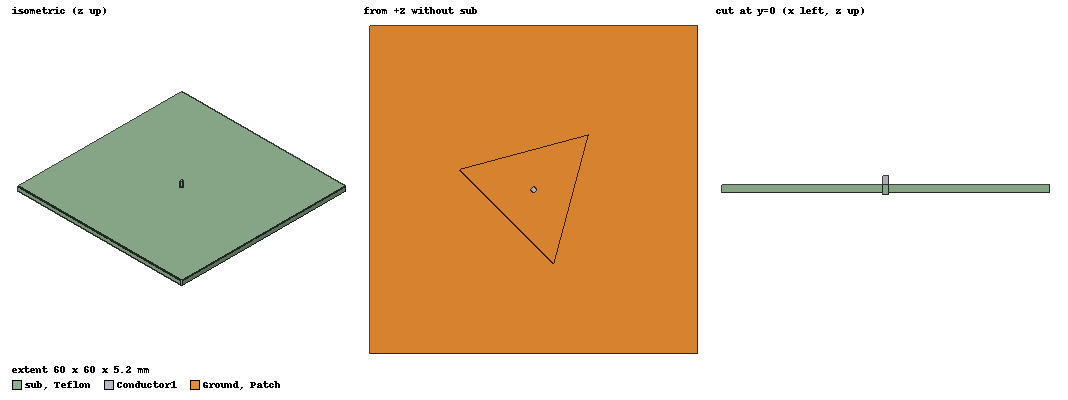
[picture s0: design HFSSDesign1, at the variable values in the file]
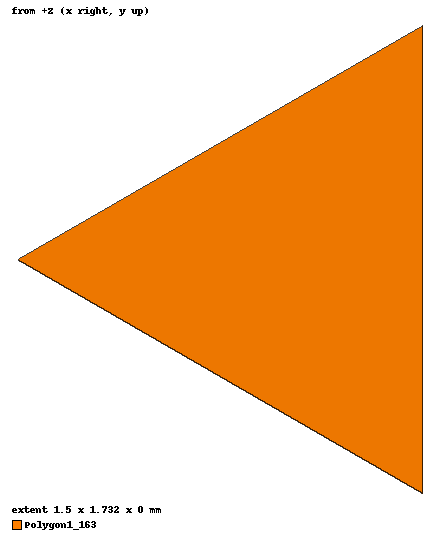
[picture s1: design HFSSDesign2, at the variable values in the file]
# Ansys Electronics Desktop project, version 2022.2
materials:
  vacuum: permittivity=1
  Rogers RT/duroid 5880 (tm): permittivity=1.96 dielectric_loss_tangent=0.0009
  Teflon (tm): permittivity=2.1 dielectric_loss_tangent=0.001
  pec: conductivity=1e+30
  copper: permeability=0.999991 conductivity=58000000

design HFSSDesign1 (HFSS, DrivenTerminal, model units mm)
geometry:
  sub [Rogers RT/duroid 5880 (tm)] = box(corner=(-30mm, -30mm, 0mm), size=(60mm, 60mm, 1.6mm))
  Ground = rectangle(corner=(30mm, 30mm, 0mm), x_size=-60mm, y_size=-60mm)
  Patch = regular_polygon(axis=Z, centre=(0mm, 0mm, 0mm), first_corner=(10mm, 10mm, 0mm), sides=3)
  Conductor [pec] = cylinder(axis=Z, base_centre=(0mm, 0mm, 1.6mm), radius=0.5mm, height=-2mm)
  Teflon [Teflon (tm)] = cylinder(axis=Z, base_centre=(0mm, 0mm, 1.6mm), radius=0.5mm, height=-2mm)
  Conductor1 [pec] = cylinder(axis=Z, base_centre=(0mm, 0mm, 1.6mm), radius=0.5mm, height=1.6mm)
  Circle1 = circle(normal=Z, centre=(0mm, 0mm, -2mm), radius=2.2mm)
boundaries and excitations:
  PerfE1: Perfect E Objects=Ground
  PerfE2: Perfect E Objects=Patch
  1: Wave Port Faces=Circle1.face NumModes=1
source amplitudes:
  1:1: 1 0

design HFSSDesign2 (HFSS, DrivenTerminal, model units mm)
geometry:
  Polygon1 [copper] = regular_polygon(axis=Z, centre=(0mm, 0mm, 0mm), first_corner=(-1mm, 0mm, 0mm), sides=3)
  Polygon1_1 = regular_polygon(axis=Z, centre=(-0.9375mm, 0mm, 0mm), first_corner=(-0.9063mm, 0mm, 0mm), sides=3)
  Polygon1_2 = regular_polygon(axis=Z, centre=(-0.8438mm, -0.0541mm, 0mm), first_corner=(-0.8125mm, -0.0541mm, 0mm), sides=3)
  Polygon1_3 = regular_polygon(axis=Z, centre=(-0.8438mm, 0.0541mm, 0mm), first_corner=(-0.8125mm, 0.0541mm, 0mm), sides=3)
  Polygon1_4 = regular_polygon(axis=Z, centre=(-0.875mm, 0mm, 0mm), first_corner=(-0.8125mm, 0mm, 0mm), sides=3)
  Polygon1_5 = regular_polygon(axis=Z, centre=(-0.75mm, -0.1083mm, 0mm), first_corner=(-0.7188mm, -0.1083mm, 0mm), sides=3)
  Polygon1_6 = regular_polygon(axis=Z, centre=(-0.6563mm, -0.1624mm, 0mm), first_corner=(-0.625mm, -0.1624mm, 0mm), sides=3)
  Polygon1_7 = regular_polygon(axis=Z, centre=(-0.6563mm, -0.0541mm, 0mm), first_corner=(-0.625mm, -0.0541mm, 0mm), sides=3)
  Polygon1_8 = regular_polygon(axis=Z, centre=(-0.6875mm, -0.1083mm, 0mm), first_corner=(-0.625mm, -0.1083mm, 0mm), sides=3)
  Polygon1_9 = regular_polygon(axis=Z, centre=(-0.75mm, 0.1083mm, 0mm), first_corner=(-0.7188mm, 0.1083mm, 0mm), sides=3)
  Polygon1_10 = regular_polygon(axis=Z, centre=(-0.6563mm, 0.0541mm, 0mm), first_corner=(-0.625mm, 0.0541mm, 0mm), sides=3)
  Polygon1_11 = regular_polygon(axis=Z, centre=(-0.6563mm, 0.1624mm, 0mm), first_corner=(-0.625mm, 0.1624mm, 0mm), sides=3)
  Polygon1_12 = regular_polygon(axis=Z, centre=(-0.6875mm, 0.1083mm, 0mm), first_corner=(-0.625mm, 0.1083mm, 0mm), sides=3)
  Polygon1_13 = regular_polygon(axis=Z, centre=(-0.75mm, 0mm, 0mm), first_corner=(-0.625mm, 0mm, 0mm), sides=3)
  Polygon1_14 = regular_polygon(axis=Z, centre=(-0.5625mm, -0.2165mm, 0mm), first_corner=(-0.5313mm, -0.2165mm, 0mm), sides=3)
  Polygon1_15 = regular_polygon(axis=Z, centre=(-0.4688mm, -0.2706mm, 0mm), first_corner=(-0.4375mm, -0.2706mm, 0mm), sides=3)
  Polygon1_16 = regular_polygon(axis=Z, centre=(-0.4688mm, -0.1624mm, 0mm), first_corner=(-0.4375mm, -0.1624mm, 0mm), sides=3)
  Polygon1_17 = regular_polygon(axis=Z, centre=(-0.5mm, -0.2165mm, 0mm), first_corner=(-0.4375mm, -0.2165mm, 0mm), sides=3)
  Polygon1_18 = regular_polygon(axis=Z, centre=(-0.375mm, -0.3248mm, 0mm), first_corner=(-0.3438mm, -0.3248mm, 0mm), sides=3)
  Polygon1_19 = regular_polygon(axis=Z, centre=(-0.2813mm, -0.3789mm, 0mm), first_corner=(-0.25mm, -0.3789mm, 0mm), sides=3)
  Polygon1_20 = regular_polygon(axis=Z, centre=(-0.2813mm, -0.2706mm, 0mm), first_corner=(-0.25mm, -0.2706mm, 0mm), sides=3)
  Polygon1_21 = regular_polygon(axis=Z, centre=(-0.3125mm, -0.3248mm, 0mm), first_corner=(-0.25mm, -0.3248mm, 0mm), sides=3)
  Polygon1_22 = regular_polygon(axis=Z, centre=(-0.375mm, -0.1083mm, 0mm), first_corner=(-0.3438mm, -0.1083mm, 0mm), sides=3)
  Polygon1_23 = regular_polygon(axis=Z, centre=(-0.2813mm, -0.1624mm, 0mm), first_corner=(-0.25mm, -0.1624mm, 0mm), sides=3)
  Polygon1_24 = regular_polygon(axis=Z, centre=(-0.2813mm, -0.0541mm, 0mm), first_corner=(-0.25mm, -0.0541mm, 0mm), sides=3)
  Polygon1_25 = regular_polygon(axis=Z, centre=(-0.3125mm, -0.1083mm, 0mm), first_corner=(-0.25mm, -0.1083mm, 0mm), sides=3)
  Polygon1_26 = regular_polygon(axis=Z, centre=(-0.375mm, -0.2165mm, 0mm), first_corner=(-0.25mm, -0.2165mm, 0mm), sides=3)
  Polygon1_27 = regular_polygon(axis=Z, centre=(-0.5625mm, 0.2165mm, 0mm), first_corner=(-0.5313mm, 0.2165mm, 0mm), sides=3)
  Polygon1_28 = regular_polygon(axis=Z, centre=(-0.4688mm, 0.1624mm, 0mm), first_corner=(-0.4375mm, 0.1624mm, 0mm), sides=3)
  Polygon1_29 = regular_polygon(axis=Z, centre=(-0.4688mm, 0.2706mm, 0mm), first_corner=(-0.4375mm, 0.2706mm, 0mm), sides=3)
  Polygon1_30 = regular_polygon(axis=Z, centre=(-0.5mm, 0.2165mm, 0mm), first_corner=(-0.4375mm, 0.2165mm, 0mm), sides=3)
  Polygon1_31 = regular_polygon(axis=Z, centre=(-0.375mm, 0.1083mm, 0mm), first_corner=(-0.3438mm, 0.1083mm, 0mm), sides=3)
  Polygon1_32 = regular_polygon(axis=Z, centre=(-0.2813mm, 0.0541mm, 0mm), first_corner=(-0.25mm, 0.0541mm, 0mm), sides=3)
  Polygon1_33 = regular_polygon(axis=Z, centre=(-0.2813mm, 0.1624mm, 0mm), first_corner=(-0.25mm, 0.1624mm, 0mm), sides=3)
  Polygon1_34 = regular_polygon(axis=Z, centre=(-0.3125mm, 0.1083mm, 0mm), first_corner=(-0.25mm, 0.1083mm, 0mm), sides=3)
  Polygon1_35 = regular_polygon(axis=Z, centre=(-0.375mm, 0.3248mm, 0mm), first_corner=(-0.3438mm, 0.3248mm, 0mm), sides=3)
  Polygon1_36 = regular_polygon(axis=Z, centre=(-0.2813mm, 0.2706mm, 0mm), first_corner=(-0.25mm, 0.2706mm, 0mm), sides=3)
  Polygon1_37 = regular_polygon(axis=Z, centre=(-0.2813mm, 0.3789mm, 0mm), first_corner=(-0.25mm, 0.3789mm, 0mm), sides=3)
  Polygon1_38 = regular_polygon(axis=Z, centre=(-0.3125mm, 0.3248mm, 0mm), first_corner=(-0.25mm, 0.3248mm, 0mm), sides=3)
  Polygon1_39 = regular_polygon(axis=Z, centre=(-0.375mm, 0.2165mm, 0mm), first_corner=(-0.25mm, 0.2165mm, 0mm), sides=3)
  Polygon1_40 = regular_polygon(axis=Z, centre=(-0.5mm, 0mm, 0mm), first_corner=(-0.25mm, 0mm, 0mm), sides=3)
  Polygon1_41 = regular_polygon(axis=Z, centre=(-0.1875mm, -0.433mm, 0mm), first_corner=(-0.1563mm, -0.433mm, 0mm), sides=3)
  Polygon1_42 = regular_polygon(axis=Z, centre=(-0.0938mm, -0.4871mm, 0mm), first_corner=(-0.0625mm, -0.4871mm, 0mm), sides=3)
  Polygon1_43 = regular_polygon(axis=Z, centre=(-0.0938mm, -0.3789mm, 0mm), first_corner=(-0.0625mm, -0.3789mm, 0mm), sides=3)
  Polygon1_44 = regular_polygon(axis=Z, centre=(-0.125mm, -0.433mm, 0mm), first_corner=(-0.0625mm, -0.433mm, 0mm), sides=3)
  Polygon1_45 = regular_polygon(axis=Z, centre=(-1.4e-16mm, -0.5413mm, 0mm), first_corner=(0.0312mm, -0.5413mm, 0mm), sides=3)
  Polygon1_46 = regular_polygon(axis=Z, centre=(0.0937mm, -0.5954mm, 0mm), first_corner=(0.125mm, -0.5954mm, 0mm), sides=3)
  Polygon1_47 = regular_polygon(axis=Z, centre=(0.0937mm, -0.4871mm, 0mm), first_corner=(0.125mm, -0.4871mm, 0mm), sides=3)
  Polygon1_48 = regular_polygon(axis=Z, centre=(0.0625mm, -0.5413mm, 0mm), first_corner=(0.125mm, -0.5413mm, 0mm), sides=3)
  Polygon1_49 = regular_polygon(axis=Z, centre=(-5.6e-17mm, -0.3248mm, 0mm), first_corner=(0.0312mm, -0.3248mm, 0mm), sides=3)
  Polygon1_50 = regular_polygon(axis=Z, centre=(0.0937mm, -0.3789mm, 0mm), first_corner=(0.125mm, -0.3789mm, 0mm), sides=3)
  Polygon1_51 = regular_polygon(axis=Z, centre=(0.0938mm, -0.2706mm, 0mm), first_corner=(0.125mm, -0.2706mm, 0mm), sides=3)
  Polygon1_52 = regular_polygon(axis=Z, centre=(0.0625mm, -0.3248mm, 0mm), first_corner=(0.125mm, -0.3248mm, 0mm), sides=3)
  Polygon1_53 = regular_polygon(axis=Z, centre=(-1.1e-16mm, -0.433mm, 0mm), first_corner=(0.125mm, -0.433mm, 0mm), sides=3)
  Polygon1_54 = regular_polygon(axis=Z, centre=(0.1875mm, -0.6495mm, 0mm), first_corner=(0.2188mm, -0.6495mm, 0mm), sides=3)
  Polygon1_55 = regular_polygon(axis=Z, centre=(0.2813mm, -0.7036mm, 0mm), first_corner=(0.3125mm, -0.7036mm, 0mm), sides=3)
  Polygon1_56 = regular_polygon(axis=Z, centre=(0.2813mm, -0.5954mm, 0mm), first_corner=(0.3125mm, -0.5954mm, 0mm), sides=3)
  Polygon1_57 = regular_polygon(axis=Z, centre=(0.25mm, -0.6495mm, 0mm), first_corner=(0.3125mm, -0.6495mm, 0mm), sides=3)
  Polygon1_58 = regular_polygon(axis=Z, centre=(0.375mm, -0.7578mm, 0mm), first_corner=(0.4063mm, -0.7578mm, 0mm), sides=3)
  Polygon1_59 = regular_polygon(axis=Z, centre=(0.4688mm, -0.8119mm, 0mm), first_corner=(0.5mm, -0.8119mm, 0mm), sides=3)
  Polygon1_60 = regular_polygon(axis=Z, centre=(0.4688mm, -0.7036mm, 0mm), first_corner=(0.5mm, -0.7036mm, 0mm), sides=3)
  Polygon1_61 = regular_polygon(axis=Z, centre=(0.4375mm, -0.7578mm, 0mm), first_corner=(0.5mm, -0.7578mm, 0mm), sides=3)
  Polygon1_62 = regular_polygon(axis=Z, centre=(0.375mm, -0.5413mm, 0mm), first_corner=(0.4063mm, -0.5413mm, 0mm), sides=3)
  Polygon1_63 = regular_polygon(axis=Z, centre=(0.4688mm, -0.5954mm, 0mm), first_corner=(0.5mm, -0.5954mm, 0mm), sides=3)
  Polygon1_64 = regular_polygon(axis=Z, centre=(0.4688mm, -0.4871mm, 0mm), first_corner=(0.5mm, -0.4871mm, 0mm), sides=3)
  Polygon1_65 = regular_polygon(axis=Z, centre=(0.4375mm, -0.5413mm, 0mm), first_corner=(0.5mm, -0.5413mm, 0mm), sides=3)
  Polygon1_66 = regular_polygon(axis=Z, centre=(0.375mm, -0.6495mm, 0mm), first_corner=(0.5mm, -0.6495mm, 0mm), sides=3)
  Polygon1_67 = regular_polygon(axis=Z, centre=(0.1875mm, -0.2165mm, 0mm), first_corner=(0.2188mm, -0.2165mm, 0mm), sides=3)
  Polygon1_68 = regular_polygon(axis=Z, centre=(0.2813mm, -0.2706mm, 0mm), first_corner=(0.3125mm, -0.2706mm, 0mm), sides=3)
  Polygon1_69 = regular_polygon(axis=Z, centre=(0.2813mm, -0.1624mm, 0mm), first_corner=(0.3125mm, -0.1624mm, 0mm), sides=3)
  Polygon1_70 = regular_polygon(axis=Z, centre=(0.25mm, -0.2165mm, 0mm), first_corner=(0.3125mm, -0.2165mm, 0mm), sides=3)
  Polygon1_71 = regular_polygon(axis=Z, centre=(0.375mm, -0.3248mm, 0mm), first_corner=(0.4063mm, -0.3248mm, 0mm), sides=3)
  Polygon1_72 = regular_polygon(axis=Z, centre=(0.4688mm, -0.3789mm, 0mm), first_corner=(0.5mm, -0.3789mm, 0mm), sides=3)
  Polygon1_73 = regular_polygon(axis=Z, centre=(0.4688mm, -0.2706mm, 0mm), first_corner=(0.5mm, -0.2706mm, 0mm), sides=3)
  Polygon1_74 = regular_polygon(axis=Z, centre=(0.4375mm, -0.3248mm, 0mm), first_corner=(0.5mm, -0.3248mm, 0mm), sides=3)
  Polygon1_75 = regular_polygon(axis=Z, centre=(0.375mm, -0.1083mm, 0mm), first_corner=(0.4063mm, -0.1083mm, 0mm), sides=3)
  Polygon1_76 = regular_polygon(axis=Z, centre=(0.4688mm, -0.1624mm, 0mm), first_corner=(0.5mm, -0.1624mm, 0mm), sides=3)
  Polygon1_77 = regular_polygon(axis=Z, centre=(0.4688mm, -0.0541mm, 0mm), first_corner=(0.5mm, -0.0541mm, 0mm), sides=3)
  Polygon1_78 = regular_polygon(axis=Z, centre=(0.4375mm, -0.1083mm, 0mm), first_corner=(0.5mm, -0.1083mm, 0mm), sides=3)
  Polygon1_79 = regular_polygon(axis=Z, centre=(0.375mm, -0.2165mm, 0mm), first_corner=(0.5mm, -0.2165mm, 0mm), sides=3)
  Polygon1_80 = regular_polygon(axis=Z, centre=(0.25mm, -0.433mm, 0mm), first_corner=(0.5mm, -0.433mm, 0mm), sides=3)
  Polygon1_81 = regular_polygon(axis=Z, centre=(-0.1875mm, 0.433mm, 0mm), first_corner=(-0.1563mm, 0.433mm, 0mm), sides=3)
  Polygon1_82 = regular_polygon(axis=Z, centre=(-0.0937mm, 0.3789mm, 0mm), first_corner=(-0.0625mm, 0.3789mm, 0mm), sides=3)
  Polygon1_83 = regular_polygon(axis=Z, centre=(-0.0937mm, 0.4871mm, 0mm), first_corner=(-0.0625mm, 0.4871mm, 0mm), sides=3)
  Polygon1_84 = regular_polygon(axis=Z, centre=(-0.125mm, 0.433mm, 0mm), first_corner=(-0.0625mm, 0.433mm, 0mm), sides=3)
  Polygon1_85 = regular_polygon(axis=Z, centre=(1.9e-16mm, 0.3248mm, 0mm), first_corner=(0.0313mm, 0.3248mm, 0mm), sides=3)
  Polygon1_86 = regular_polygon(axis=Z, centre=(0.0938mm, 0.2706mm, 0mm), first_corner=(0.125mm, 0.2706mm, 0mm), sides=3)
  Polygon1_87 = regular_polygon(axis=Z, centre=(0.0938mm, 0.3789mm, 0mm), first_corner=(0.125mm, 0.3789mm, 0mm), sides=3)
  Polygon1_88 = regular_polygon(axis=Z, centre=(0.0625mm, 0.3248mm, 0mm), first_corner=(0.125mm, 0.3248mm, 0mm), sides=3)
  Polygon1_89 = regular_polygon(axis=Z, centre=(2.8e-16mm, 0.5413mm, 0mm), first_corner=(0.0313mm, 0.5413mm, 0mm), sides=3)
  Polygon1_90 = regular_polygon(axis=Z, centre=(0.0938mm, 0.4871mm, 0mm), first_corner=(0.125mm, 0.4871mm, 0mm), sides=3)
  Polygon1_91 = regular_polygon(axis=Z, centre=(0.0938mm, 0.5954mm, 0mm), first_corner=(0.125mm, 0.5954mm, 0mm), sides=3)
  Polygon1_92 = regular_polygon(axis=Z, centre=(0.0625mm, 0.5413mm, 0mm), first_corner=(0.125mm, 0.5413mm, 0mm), sides=3)
  Polygon1_93 = regular_polygon(axis=Z, centre=(2.2e-16mm, 0.433mm, 0mm), first_corner=(0.125mm, 0.433mm, 0mm), sides=3)
  Polygon1_94 = regular_polygon(axis=Z, centre=(0.1875mm, 0.2165mm, 0mm), first_corner=(0.2188mm, 0.2165mm, 0mm), sides=3)
  Polygon1_95 = regular_polygon(axis=Z, centre=(0.2813mm, 0.1624mm, 0mm), first_corner=(0.3125mm, 0.1624mm, 0mm), sides=3)
  Polygon1_96 = regular_polygon(axis=Z, centre=(0.2813mm, 0.2706mm, 0mm), first_corner=(0.3125mm, 0.2706mm, 0mm), sides=3)
  Polygon1_97 = regular_polygon(axis=Z, centre=(0.25mm, 0.2165mm, 0mm), first_corner=(0.3125mm, 0.2165mm, 0mm), sides=3)
  Polygon1_98 = regular_polygon(axis=Z, centre=(0.375mm, 0.1083mm, 0mm), first_corner=(0.4063mm, 0.1083mm, 0mm), sides=3)
  Polygon1_99 = regular_polygon(axis=Z, centre=(0.4688mm, 0.0541mm, 0mm), first_corner=(0.5mm, 0.0541mm, 0mm), sides=3)
  Polygon1_100 = regular_polygon(axis=Z, centre=(0.4688mm, 0.1624mm, 0mm), first_corner=(0.5mm, 0.1624mm, 0mm), sides=3)
  Polygon1_101 = regular_polygon(axis=Z, centre=(0.4375mm, 0.1083mm, 0mm), first_corner=(0.5mm, 0.1083mm, 0mm), sides=3)
  Polygon1_102 = regular_polygon(axis=Z, centre=(0.375mm, 0.3248mm, 0mm), first_corner=(0.4063mm, 0.3248mm, 0mm), sides=3)
  Polygon1_103 = regular_polygon(axis=Z, centre=(0.4688mm, 0.2706mm, 0mm), first_corner=(0.5mm, 0.2706mm, 0mm), sides=3)
  Polygon1_104 = regular_polygon(axis=Z, centre=(0.4688mm, 0.3789mm, 0mm), first_corner=(0.5mm, 0.3789mm, 0mm), sides=3)
  Polygon1_105 = regular_polygon(axis=Z, centre=(0.4375mm, 0.3248mm, 0mm), first_corner=(0.5mm, 0.3248mm, 0mm), sides=3)
  Polygon1_106 = regular_polygon(axis=Z, centre=(0.375mm, 0.2165mm, 0mm), first_corner=(0.5mm, 0.2165mm, 0mm), sides=3)
  Polygon1_107 = regular_polygon(axis=Z, centre=(0.1875mm, 0.6495mm, 0mm), first_corner=(0.2188mm, 0.6495mm, 0mm), sides=3)
  Polygon1_108 = regular_polygon(axis=Z, centre=(0.2813mm, 0.5954mm, 0mm), first_corner=(0.3125mm, 0.5954mm, 0mm), sides=3)
  Polygon1_109 = regular_polygon(axis=Z, centre=(0.2813mm, 0.7036mm, 0mm), first_corner=(0.3125mm, 0.7036mm, 0mm), sides=3)
  Polygon1_110 = regular_polygon(axis=Z, centre=(0.25mm, 0.6495mm, 0mm), first_corner=(0.3125mm, 0.6495mm, 0mm), sides=3)
  Polygon1_111 = regular_polygon(axis=Z, centre=(0.375mm, 0.5413mm, 0mm), first_corner=(0.4063mm, 0.5413mm, 0mm), sides=3)
  Polygon1_112 = regular_polygon(axis=Z, centre=(0.4688mm, 0.4871mm, 0mm), first_corner=(0.5mm, 0.4871mm, 0mm), sides=3)
  Polygon1_113 = regular_polygon(axis=Z, centre=(0.4688mm, 0.5954mm, 0mm), first_corner=(0.5mm, 0.5954mm, 0mm), sides=3)
  Polygon1_114 = regular_polygon(axis=Z, centre=(0.4375mm, 0.5413mm, 0mm), first_corner=(0.5mm, 0.5413mm, 0mm), sides=3)
  Polygon1_115 = regular_polygon(axis=Z, centre=(0.375mm, 0.7578mm, 0mm), first_corner=(0.4063mm, 0.7578mm, 0mm), sides=3)
  Polygon1_116 = regular_polygon(axis=Z, centre=(0.4688mm, 0.7036mm, 0mm), first_corner=(0.5mm, 0.7036mm, 0mm), sides=3)
  Polygon1_117 = regular_polygon(axis=Z, centre=(0.4688mm, 0.8119mm, 0mm), first_corner=(0.5mm, 0.8119mm, 0mm), sides=3)
  Polygon1_118 = regular_polygon(axis=Z, centre=(0.4375mm, 0.7578mm, 0mm), first_corner=(0.5mm, 0.7578mm, 0mm), sides=3)
  Polygon1_119 = regular_polygon(axis=Z, centre=(0.375mm, 0.6495mm, 0mm), first_corner=(0.5mm, 0.6495mm, 0mm), sides=3)
  Polygon1_120 = regular_polygon(axis=Z, centre=(0.25mm, 0.433mm, 0mm), first_corner=(0.5mm, 0.433mm, 0mm), sides=3)
  Polygon1_121 = regular_polygon(axis=Z, centre=(0mm, 0mm, 0mm), first_corner=(0.5mm, 0mm, 0mm), sides=3)
  Polygon1.subtract(Polygon1_1..Polygon1_121)
  Polygon1_122 [copper] = regular_polygon(axis=Z, centre=(0mm, 0mm, 0mm), first_corner=(-1mm, 0mm, 0mm), sides=3)
  Polygon1_123 = regular_polygon(axis=Z, centre=(-0.875mm, 0mm, 0mm), first_corner=(-0.8125mm, 0mm, 0mm), sides=3)
  Polygon1_124 = regular_polygon(axis=Z, centre=(-0.6875mm, -0.1083mm, 0mm), first_corner=(-0.625mm, -0.1083mm, 0mm), sides=3)
  Polygon1_125 = regular_polygon(axis=Z, centre=(-0.6875mm, 0.1083mm, 0mm), first_corner=(-0.625mm, 0.1083mm, 0mm), sides=3)
  Polygon1_126 = regular_polygon(axis=Z, centre=(-0.75mm, 0mm, 0mm), first_corner=(-0.625mm, 0mm, 0mm), sides=3)
  Polygon1_127 = regular_polygon(axis=Z, centre=(-0.5mm, -0.2165mm, 0mm), first_corner=(-0.4375mm, -0.2165mm, 0mm), sides=3)
  Polygon1_128 = regular_polygon(axis=Z, centre=(-0.3125mm, -0.3248mm, 0mm), first_corner=(-0.25mm, -0.3248mm, 0mm), sides=3)
  Polygon1_129 = regular_polygon(axis=Z, centre=(-0.3125mm, -0.1083mm, 0mm), first_corner=(-0.25mm, -0.1083mm, 0mm), sides=3)
  Polygon1_130 = regular_polygon(axis=Z, centre=(-0.375mm, -0.2165mm, 0mm), first_corner=(-0.25mm, -0.2165mm, 0mm), sides=3)
  Polygon1_131 = regular_polygon(axis=Z, centre=(-0.5mm, 0.2165mm, 0mm), first_corner=(-0.4375mm, 0.2165mm, 0mm), sides=3)
  Polygon1_132 = regular_polygon(axis=Z, centre=(-0.3125mm, 0.1083mm, 0mm), first_corner=(-0.25mm, 0.1083mm, 0mm), sides=3)
  Polygon1_133 = regular_polygon(axis=Z, centre=(-0.3125mm, 0.3248mm, 0mm), first_corner=(-0.25mm, 0.3248mm, 0mm), sides=3)
  Polygon1_134 = regular_polygon(axis=Z, centre=(-0.375mm, 0.2165mm, 0mm), first_corner=(-0.25mm, 0.2165mm, 0mm), sides=3)
  Polygon1_135 = regular_polygon(axis=Z, centre=(-0.5mm, 0mm, 0mm), first_corner=(-0.25mm, 0mm, 0mm), sides=3)
  Polygon1_136 = regular_polygon(axis=Z, centre=(-0.125mm, -0.433mm, 0mm), first_corner=(-0.0625mm, -0.433mm, 0mm), sides=3)
  Polygon1_137 = regular_polygon(axis=Z, centre=(0.0625mm, -0.5413mm, 0mm), first_corner=(0.125mm, -0.5413mm, 0mm), sides=3)
  Polygon1_138 = regular_polygon(axis=Z, centre=(0.0625mm, -0.3248mm, 0mm), first_corner=(0.125mm, -0.3248mm, 0mm), sides=3)
  Polygon1_139 = regular_polygon(axis=Z, centre=(-1.1e-16mm, -0.433mm, 0mm), first_corner=(0.125mm, -0.433mm, 0mm), sides=3)
  Polygon1_140 = regular_polygon(axis=Z, centre=(0.25mm, -0.6495mm, 0mm), first_corner=(0.3125mm, -0.6495mm, 0mm), sides=3)
  Polygon1_141 = regular_polygon(axis=Z, centre=(0.4375mm, -0.7578mm, 0mm), first_corner=(0.5mm, -0.7578mm, 0mm), sides=3)
  Polygon1_142 = regular_polygon(axis=Z, centre=(0.4375mm, -0.5413mm, 0mm), first_corner=(0.5mm, -0.5413mm, 0mm), sides=3)
  Polygon1_143 = regular_polygon(axis=Z, centre=(0.375mm, -0.6495mm, 0mm), first_corner=(0.5mm, -0.6495mm, 0mm), sides=3)
  Polygon1_144 = regular_polygon(axis=Z, centre=(0.25mm, -0.2165mm, 0mm), first_corner=(0.3125mm, -0.2165mm, 0mm), sides=3)
  Polygon1_145 = regular_polygon(axis=Z, centre=(0.4375mm, -0.3248mm, 0mm), first_corner=(0.5mm, -0.3248mm, 0mm), sides=3)
  Polygon1_146 = regular_polygon(axis=Z, centre=(0.4375mm, -0.1083mm, 0mm), first_corner=(0.5mm, -0.1083mm, 0mm), sides=3)
  Polygon1_147 = regular_polygon(axis=Z, centre=(0.375mm, -0.2165mm, 0mm), first_corner=(0.5mm, -0.2165mm, 0mm), sides=3)
  Polygon1_148 = regular_polygon(axis=Z, centre=(0.25mm, -0.433mm, 0mm), first_corner=(0.5mm, -0.433mm, 0mm), sides=3)
  Polygon1_149 = regular_polygon(axis=Z, centre=(-0.125mm, 0.433mm, 0mm), first_corner=(-0.0625mm, 0.433mm, 0mm), sides=3)
  Polygon1_150 = regular_polygon(axis=Z, centre=(0.0625mm, 0.3248mm, 0mm), first_corner=(0.125mm, 0.3248mm, 0mm), sides=3)
  Polygon1_151 = regular_polygon(axis=Z, centre=(0.0625mm, 0.5413mm, 0mm), first_corner=(0.125mm, 0.5413mm, 0mm), sides=3)
  Polygon1_152 = regular_polygon(axis=Z, centre=(2.2e-16mm, 0.433mm, 0mm), first_corner=(0.125mm, 0.433mm, 0mm), sides=3)
  Polygon1_153 = regular_polygon(axis=Z, centre=(0.25mm, 0.2165mm, 0mm), first_corner=(0.3125mm, 0.2165mm, 0mm), sides=3)
  Polygon1_154 = regular_polygon(axis=Z, centre=(0.4375mm, 0.1083mm, 0mm), first_corner=(0.5mm, 0.1083mm, 0mm), sides=3)
  Polygon1_155 = regular_polygon(axis=Z, centre=(0.4375mm, 0.3248mm, 0mm), first_corner=(0.5mm, 0.3248mm, 0mm), sides=3)
  Polygon1_156 = regular_polygon(axis=Z, centre=(0.375mm, 0.2165mm, 0mm), first_corner=(0.5mm, 0.2165mm, 0mm), sides=3)
  Polygon1_157 = regular_polygon(axis=Z, centre=(0.25mm, 0.6495mm, 0mm), first_corner=(0.3125mm, 0.6495mm, 0mm), sides=3)
  Polygon1_158 = regular_polygon(axis=Z, centre=(0.4375mm, 0.5413mm, 0mm), first_corner=(0.5mm, 0.5413mm, 0mm), sides=3)
  Polygon1_159 = regular_polygon(axis=Z, centre=(0.4375mm, 0.7578mm, 0mm), first_corner=(0.5mm, 0.7578mm, 0mm), sides=3)
  Polygon1_160 = regular_polygon(axis=Z, centre=(0.375mm, 0.6495mm, 0mm), first_corner=(0.5mm, 0.6495mm, 0mm), sides=3)
  Polygon1_161 = regular_polygon(axis=Z, centre=(0.25mm, 0.433mm, 0mm), first_corner=(0.5mm, 0.433mm, 0mm), sides=3)
  Polygon1_162 = regular_polygon(axis=Z, centre=(0mm, 0mm, 0mm), first_corner=(0.5mm, 0mm, 0mm), sides=3)
  Polygon1.subtract(Polygon1_123..Polygon1_162)
  Polygon1_163 [copper] = regular_polygon(axis=Z, centre=(0mm, 0mm, 0mm), first_corner=(-1mm, 0mm, 0mm), sides=3)
  Polygon1_164 = regular_polygon(axis=Z, centre=(-0.875mm, 0mm, 0mm), first_corner=(-0.8125mm, 0mm, 0mm), sides=3)
  Polygon1_165 = regular_polygon(axis=Z, centre=(-0.6875mm, -0.1083mm, 0mm), first_corner=(-0.625mm, -0.1083mm, 0mm), sides=3)
  Polygon1_166 = regular_polygon(axis=Z, centre=(-0.6875mm, 0.1083mm, 0mm), first_corner=(-0.625mm, 0.1083mm, 0mm), sides=3)
  Polygon1_167 = regular_polygon(axis=Z, centre=(-0.75mm, 0mm, 0mm), first_corner=(-0.625mm, 0mm, 0mm), sides=3)
  Polygon1_168 = regular_polygon(axis=Z, centre=(-0.5mm, -0.2165mm, 0mm), first_corner=(-0.4375mm, -0.2165mm, 0mm), sides=3)
  Polygon1_169 = regular_polygon(axis=Z, centre=(-0.3125mm, -0.3248mm, 0mm), first_corner=(-0.25mm, -0.3248mm, 0mm), sides=3)
  Polygon1_170 = regular_polygon(axis=Z, centre=(-0.3125mm, -0.1083mm, 0mm), first_corner=(-0.25mm, -0.1083mm, 0mm), sides=3)
  Polygon1_171 = regular_polygon(axis=Z, centre=(-0.375mm, -0.2165mm, 0mm), first_corner=(-0.25mm, -0.2165mm, 0mm), sides=3)
  Polygon1_172 = regular_polygon(axis=Z, centre=(-0.5mm, 0.2165mm, 0mm), first_corner=(-0.4375mm, 0.2165mm, 0mm), sides=3)
  Polygon1_173 = regular_polygon(axis=Z, centre=(-0.3125mm, 0.1083mm, 0mm), first_corner=(-0.25mm, 0.1083mm, 0mm), sides=3)
  Polygon1_174 = regular_polygon(axis=Z, centre=(-0.3125mm, 0.3248mm, 0mm), first_corner=(-0.25mm, 0.3248mm, 0mm), sides=3)
  Polygon1_175 = regular_polygon(axis=Z, centre=(-0.375mm, 0.2165mm, 0mm), first_corner=(-0.25mm, 0.2165mm, 0mm), sides=3)
  Polygon1_176 = regular_polygon(axis=Z, centre=(-0.5mm, 0mm, 0mm), first_corner=(-0.25mm, 0mm, 0mm), sides=3)
  Polygon1_177 = regular_polygon(axis=Z, centre=(-0.125mm, -0.433mm, 0mm), first_corner=(-0.0625mm, -0.433mm, 0mm), sides=3)
  Polygon1_178 = regular_polygon(axis=Z, centre=(0.0625mm, -0.5413mm, 0mm), first_corner=(0.125mm, -0.5413mm, 0mm), sides=3)
  Polygon1_179 = regular_polygon(axis=Z, centre=(0.0625mm, -0.3248mm, 0mm), first_corner=(0.125mm, -0.3248mm, 0mm), sides=3)
  Polygon1_180 = regular_polygon(axis=Z, centre=(-1.1e-16mm, -0.433mm, 0mm), first_corner=(0.125mm, -0.433mm, 0mm), sides=3)
  Polygon1_181 = regular_polygon(axis=Z, centre=(0.25mm, -0.6495mm, 0mm), first_corner=(0.3125mm, -0.6495mm, 0mm), sides=3)
  Polygon1_182 = regular_polygon(axis=Z, centre=(0.4375mm, -0.7578mm, 0mm), first_corner=(0.5mm, -0.7578mm, 0mm), sides=3)
  Polygon1_183 = regular_polygon(axis=Z, centre=(0.4375mm, -0.5413mm, 0mm), first_corner=(0.5mm, -0.5413mm, 0mm), sides=3)
  Polygon1_184 = regular_polygon(axis=Z, centre=(0.375mm, -0.6495mm, 0mm), first_corner=(0.5mm, -0.6495mm, 0mm), sides=3)
  Polygon1_185 = regular_polygon(axis=Z, centre=(0.25mm, -0.2165mm, 0mm), first_corner=(0.3125mm, -0.2165mm, 0mm), sides=3)
  Polygon1_186 = regular_polygon(axis=Z, centre=(0.4375mm, -0.3248mm, 0mm), first_corner=(0.5mm, -0.3248mm, 0mm), sides=3)
  Polygon1_187 = regular_polygon(axis=Z, centre=(0.4375mm, -0.1083mm, 0mm), first_corner=(0.5mm, -0.1083mm, 0mm), sides=3)
  Polygon1_188 = regular_polygon(axis=Z, centre=(0.375mm, -0.2165mm, 0mm), first_corner=(0.5mm, -0.2165mm, 0mm), sides=3)
  Polygon1_189 = regular_polygon(axis=Z, centre=(0.25mm, -0.433mm, 0mm), first_corner=(0.5mm, -0.433mm, 0mm), sides=3)
  Polygon1_190 = regular_polygon(axis=Z, centre=(-0.125mm, 0.433mm, 0mm), first_corner=(-0.0625mm, 0.433mm, 0mm), sides=3)
  Polygon1_191 = regular_polygon(axis=Z, centre=(0.0625mm, 0.3248mm, 0mm), first_corner=(0.125mm, 0.3248mm, 0mm), sides=3)
  Polygon1_192 = regular_polygon(axis=Z, centre=(0.0625mm, 0.5413mm, 0mm), first_corner=(0.125mm, 0.5413mm, 0mm), sides=3)
  Polygon1_193 = regular_polygon(axis=Z, centre=(2.2e-16mm, 0.433mm, 0mm), first_corner=(0.125mm, 0.433mm, 0mm), sides=3)
  Polygon1_194 = regular_polygon(axis=Z, centre=(0.25mm, 0.2165mm, 0mm), first_corner=(0.3125mm, 0.2165mm, 0mm), sides=3)
  Polygon1_195 = regular_polygon(axis=Z, centre=(0.4375mm, 0.1083mm, 0mm), first_corner=(0.5mm, 0.1083mm, 0mm), sides=3)
  Polygon1_196 = regular_polygon(axis=Z, centre=(0.4375mm, 0.3248mm, 0mm), first_corner=(0.5mm, 0.3248mm, 0mm), sides=3)
  Polygon1_197 = regular_polygon(axis=Z, centre=(0.375mm, 0.2165mm, 0mm), first_corner=(0.5mm, 0.2165mm, 0mm), sides=3)
  Polygon1_198 = regular_polygon(axis=Z, centre=(0.25mm, 0.6495mm, 0mm), first_corner=(0.3125mm, 0.6495mm, 0mm), sides=3)
  Polygon1_199 = regular_polygon(axis=Z, centre=(0.4375mm, 0.5413mm, 0mm), first_corner=(0.5mm, 0.5413mm, 0mm), sides=3)
  Polygon1_200 = regular_polygon(axis=Z, centre=(0.4375mm, 0.7578mm, 0mm), first_corner=(0.5mm, 0.7578mm, 0mm), sides=3)
  Polygon1_201 = regular_polygon(axis=Z, centre=(0.375mm, 0.6495mm, 0mm), first_corner=(0.5mm, 0.6495mm, 0mm), sides=3)
  Polygon1_202 = regular_polygon(axis=Z, centre=(0.25mm, 0.433mm, 0mm), first_corner=(0.5mm, 0.433mm, 0mm), sides=3)
  Polygon1_203 = regular_polygon(axis=Z, centre=(0mm, 0mm, 0mm), first_corner=(0.5mm, 0mm, 0mm), sides=3)
  Polygon1.subtract(Polygon1_164..Polygon1_203)
